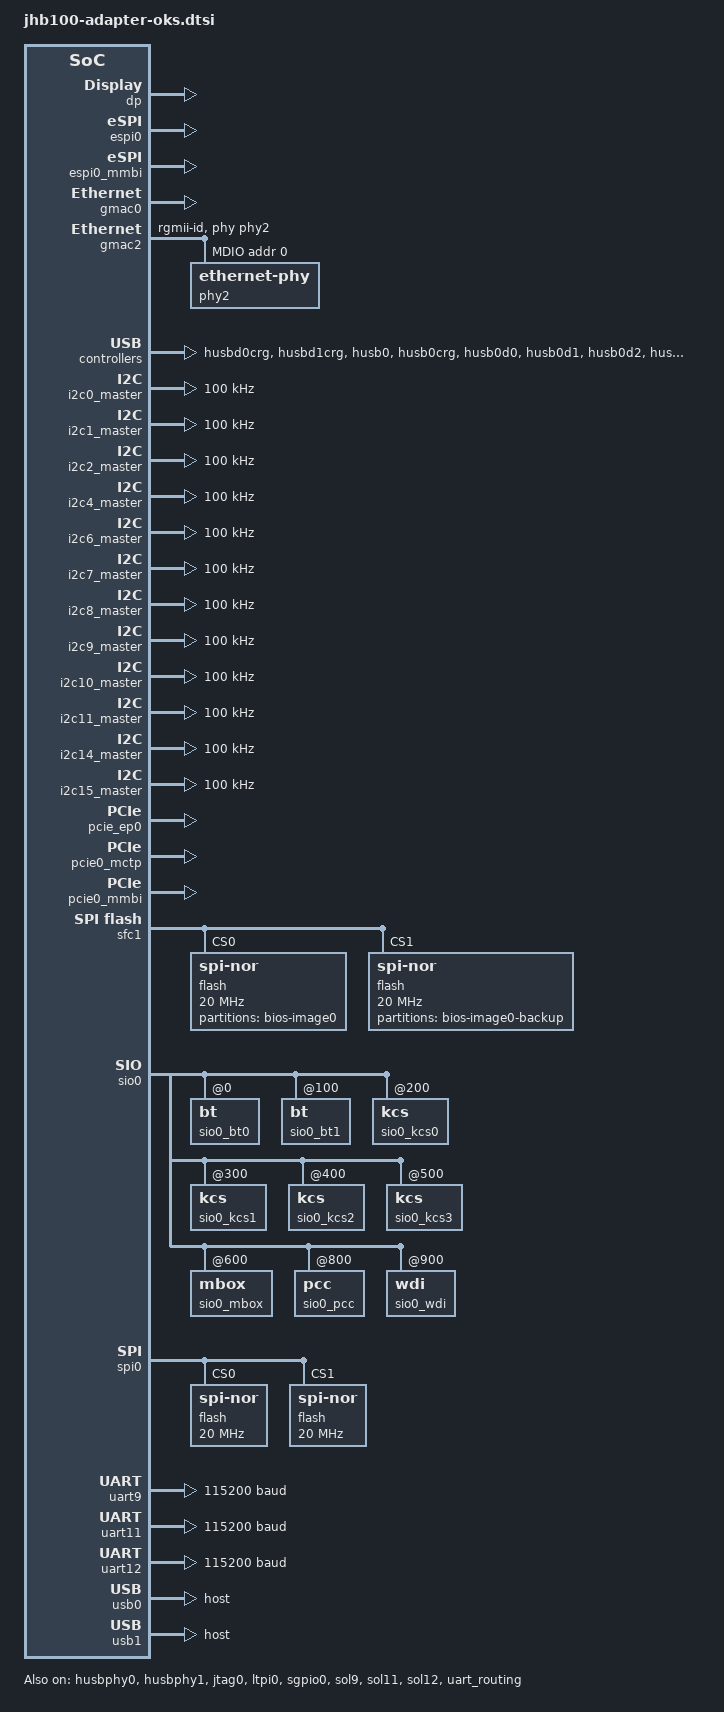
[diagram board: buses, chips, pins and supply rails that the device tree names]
// SPDX-License-Identifier: GPL-2.0 OR MIT
/*
 * Copyright (c) 2026 StarFive Technology Co., Ltd.
 */

&dc0_clk {
	single-node = <1>;
	status = "okay";
};

&dma_i3c {
	status = "disabled";
};

&dma_sfc0 {
	status = "okay";
};

&dma_sfc1 {
	status = "okay";
};

&dma_spi0 {
	status = "okay";
};

&dma_uart {
	status = "okay";
};

&dp {
	status = "okay";
};

&espi0 {
	starfive,flash-mtd-device = "bios-image0";
	starfive,host-src-addr = /bits/ 64 <0xf6810000>;
	perif-memcyc-size = <0x400000>;
	memory-region = <&espi0_mmbi_buffer_uncache>,
			<&espi0_perif_mem_uncache>,
			<&espi0_vw_mem_uncache>;

	starfive,bt-remap-num = <2>;
	starfive,kcs-remap-num = <4>;
	starfive,uart-remap-num = <2>;
	starfive,bt-io-addr = /bits/ 32 <0xe4 0xf4>;
	starfive,kcs-io-addr = /bits/ 32 <0xca2 0xcb2 0xcc2 0xcd2>;
	starfive,uart-io-addr = /bits/ 32 <0x3f8 0x410>;
	starfive,wdi-io-addr = /bits/ 32 <0xa00>;
	starfive,mbox-io-addr = /bits/ 32 <0x300>;

	starfive,vgpio_dir_bits = /bits/ 64 <0xffffffff00000000 0x0000000000000000>;
	starfive,vgpio_lvl_bits = /bits/ 64 <0x0000000000000000 0x0000000000000000>;
	starfive,vgpio_phy_bits = /bits/ 64 <0x0000000f0000000f 0x0000000000000000>;

	status = "okay";
};

&espi0_mmbi {
	mmbi-id = /bits/ 8 <0>;
	mmbi-instance-num = /bits/ 32 <1>;
	mmbi-instance-size = /bits/ 32 <0x10000>;
	mmbi-src-addr-offset = /bits/ 32 <0x10000>;
	mmbi-osuse = /bits/ 8 <0 0 0 0 0 0 0 0>;
	memory-region = <&espi0_mmbi_buffer_uncache>;
	status = "okay";
};

&gmac0 {
	assigned-clocks = <&per3crg JHB100_PER3CLK_GMAC0_RMII_MUX>;
	assigned-clock-parents = <&per3_gmac0_rmii_rclki>;
	mac-mode = "rmii";
	snps,use-ncsi;
	snps,ps-speed = <100>;
	pinctrl-names = "default";
	pinctrl-0 = <&gmac0_rmii_pins>;
	status = "okay";
};

&gmac2 {
	clocks = <&per2crg JHB100_PER2CLK_ETHER0_RMIIANDRGMII_ACLK_I>,
		 <&per2crg JHB100_PER2CLK_ETHER0_RMIIANDRGMII_CSR_I>,
		 <&per2crg JHB100_PER2CLK_ETHER0_RMIIANDRGMII_PTP_REF_I>,
		 <&per2crg JHB100_PER2CLK_GMAC2_RGMII_DIV>,
		 <&per2crg JHB100_PER2CLK_MAIN_ICG_EN_GMAC2>;
	assigned-clocks = <&per2crg JHB100_PER2CLK_GMAC2_RGMII_125_MUX>,
			  <&per2crg JHB100_PER2CLK_GMAC2_RX_MUX_DLY>,
			  <&per2crg JHB100_PER2CLK_GMAC2_TX_MUX>,
			  <&per2crg JHB100_PER2CLK_GMAC2_TXCK_MUX_DLY>;
	assigned-clock-parents = <&per2_gmac2_rgmii_rx>,
				 <&per2crg JHB100_PER2CLK_GMAC2_RGMII_125_MUX>,
				 <&per2crg JHB100_PER2CLK_GMAC2_RGMII_DIV>,
				 <&per2crg JHB100_PER2CLK_GMAC2_TX_MUX>;
	phy-mode = "rgmii-id";
	phy-handle = <&phy2>;
	pinctrl-names = "default";
	pinctrl-0 = <&gmac2_mdio_pins &gmac2_rgmii_pins>;
	status = "okay";

	mdio {
		#address-cells = <1>;
		#size-cells = <0>;
		compatible = "snps,dwmac-mdio";

		phy2: ethernet-phy@2 {
			reg = <0>;
		};
	};
};

&husbd0crg {
	status = "okay";
};

&husbd1crg {
	status = "okay";
};

&husbphy0 {
	status = "okay";
};

&husbphy1 {
	status = "okay";
};

&husb0 {
	interrupts-extended = <&plic 252>, <&plic 251>, <&plic 271>, <&intc 53>, <&intc 54>;
	interrupt-names = "host", "err", "pme", "perst_pe", "perst_ne";
	snps,export-xhci-to-pcie;
	status = "okay";
};

&husb0crg {
	status = "okay";
};

&husb0d0 {
	status = "okay";
};

&husb0d1 {
	status = "okay";
};

&husb0d2 {
	status = "okay";
};

&husb0d3 {
	status = "okay";
};

&husb0d4 {
	status = "okay";
};

&husb0d5 {
	status = "okay";
};

&husb0d6 {
	status = "okay";
};

&husb0d7 {
	status = "okay";
};

&husb1 {
	interrupts-extended = <&plic 262>, <&plic 261>, <&plic 315>, <&intc 55>, <&intc 56>;
	interrupt-names = "host", "err", "pme", "perst_pe", "perst_ne";
	snps,export-xhci-to-pcie;
	status = "okay";
};

&husb1crg {
	status = "okay";
};

&husb1d0 {
	status = "okay";
};

&husb1d1 {
	status = "okay";
};

&husb1d2 {
	status = "okay";
};

&husb1d3 {
	status = "okay";
};

&husb1d4 {
	status = "okay";
};

&husb1d5 {
	status = "okay";
};

&husb1d6 {
	status = "okay";
};

&husb1d7 {
	status = "okay";
};

&i2c0_master {
	clock-frequency = <100000>;
	status = "okay";
};

&i2c1_master {
	clock-frequency = <100000>;
	status = "okay";
};

&i2c2_master {
	clock-frequency = <100000>;
	status = "okay";
};

&i2c4_master {
	clock-frequency = <100000>;
	status = "okay";
};

&i2c6_master {
	clock-frequency = <100000>;
	status = "okay";
};

&i2c7_master {
	clock-frequency = <100000>;
	status = "okay";
};

&i2c8_master {
	clock-frequency = <100000>;
	status = "okay";
};

&i2c9_master {
	clock-frequency = <100000>;
	status = "okay";
};

&i2c10_master {
	clock-frequency = <100000>;
	status = "okay";
};

&i2c11_master {
	clock-frequency = <100000>;
	status = "okay";
};

&i2c14_master {
	clock-frequency = <100000>;
	status = "okay";
};

&i2c15_master {
	clock-frequency = <100000>;
	status = "okay";
};

&i3c0 {
	i2c-scl-hz = <400000>;
	i3c-scl-hz = <1000000>;
	mode = "master";
	hotjoin;
	status = "disabled";
};

&i3c1 {
	i2c-scl-hz = <400000>;
	i3c-scl-hz = <1000000>;
	mode = "master";
	hotjoin;
	status = "disabled";
};

&i3c5 {
	i2c-scl-hz = <400000>;
	i3c-scl-hz = <1000000>;
	mode = "master";
	hotjoin;
	status = "disabled";
};

&i3c12 {
	i2c-scl-hz = <400000>;
	i3c-scl-hz = <1000000>;
	mode = "master";
	hotjoin;
	status = "disabled";
};

&i3c13 {
	i2c-scl-hz = <400000>;
	i3c-scl-hz = <1000000>;
	mode = "master";
	hotjoin;
	status = "disabled";
};

&jtag0 {
	status = "okay";
};

&ltpi0 {
	nlgpio-number = /bits/ 16 <128>;
	uart-channels = <&uart_routing>;
	uart-max-baudrate = /bits/ 32 <115200>;
	data-sup;
	ddr-sup;
	status = "okay";

	llgpo0: virgpio@1000 {
		ngpios = <16>;
		gpo-init-value = <0x100>;
		status = "okay";
	};

	llgpi0: virgpio@1180 {
		ngpios = <16>;
		status = "okay";
	};

	nlgpo0: virgpio@2000 {
		ngpios = <128>;
		/* bit[31:0, 63:32, 95:64, 127,96] */
		gpo-init-value = <0x00400000 0x0E101300 0x03400800 0x0>;
		status = "okay";
	};

	nlgpi0: virgpio@2180 {
		ngpios = <128>;
		status = "okay";
	};
};

&pcie_ep0 {
	memory-region = <&pcie0_media_mem_uncache>,
			<&pcie0_user_mem_uncache>,
			<&pcie0_mmbi_buffer_uncache>,
			<&pcie0_hdma_mem_uncache>;
	/*
	 * Resizable BAR default size = 2^(20+rebar-def-enc)MB.
	 * PF0 BAR2 = 16MB for HDMA data
	 * PF1 BAR4 = 64MB for VOUT frame buffer
	 * PF5 BAR0 = 32MB and BAR2 = 1MB are reserved for users
	 * PF6 BAR0 = 4MB for MMBI data
	 */
	rebar-def-enc-pf0-bar2 = <4>;
	rebar-def-enc-pf1-bar4 = <6>;
	rebar-def-enc-pf5-bar0 = <5>;
	rebar-def-enc-pf5-bar2 = <0>;
	rebar-def-enc-pf6-bar0 = <2>;
	starfive,support-usb-vout-func;
	status = "okay";
};

&pcie0_mctp {
	status = "okay";
};

&pcie0_mmbi {
	mmbi-id = /bits/ 8 <0>;
	mmbi-instance-num = /bits/ 32 <8>;
	mmbi-instance-size = /bits/ 32 <0x10000>;
	mmbi-src-addr-offset = /bits/ 32 <0>;
	mmbi-osuse = /bits/ 8 <1 1 1 1 1 1 1 1>;
	memory-region = <&pcie0_mmbi_buffer_uncache>;
	starfive,raise-irq-syscon = <&pcie_ep0_ecsr 0x700 0xd>;
	starfive,rst-en-syscon = <&strap_reg 0x50 0x400>;
	status = "okay";
};

&sfc1 {
	status = "okay";
	pinctrl-names = "default";
	pinctrl-0 = <&sfc1_2cs_pins>;
	num-cs = <2>;
	rx-sample-delay-ns = <10>;

	flash@0 {
		compatible = "jedec,spi-nor";
		reg = <0>;
		spi-max-frequency = <20000000>;
		spi-tx-bus-width = <4>;
		spi-rx-bus-width = <4>;

		partitions {
			compatible = "fixed-partitions";
			#address-cells = <1>;
			#size-cells = <1>;

			partition@0 {
				label = "bios-image0";
				reg = <0x0 0x4000000>;
			};
		};
	};

	flash@1 {
		compatible = "jedec,spi-nor";
		reg = <1>;
		spi-max-frequency = <20000000>;
		spi-tx-bus-width = <4>;
		spi-rx-bus-width = <4>;

		partitions {
			compatible = "fixed-partitions";
			#address-cells = <1>;
			#size-cells = <1>;

			partition@0 {
				label = "bios-image0-backup";
				reg = <0x0 0x4000000>;
			};
		};
	};
};

&sgpio0 {
	status = "okay";
};

&sio0 {
	status = "okay";

	sio0_bt0: bt@0 {
		bt_chan = <0>;
		status = "okay";
	};

	sio0_bt1: bt@100 {
		bt_chan = <1>;
		status = "okay";
	};

	sio0_kcs0: kcs@200 {
		kcs_chan = <0>;
		status = "okay";
	};

	sio0_kcs1: kcs@300 {
		kcs_chan = <1>;
		status = "okay";
	};

	sio0_kcs2: kcs@400 {
		kcs_chan = <2>;
		status = "okay";
	};

	sio0_kcs3: kcs@500 {
		kcs_chan = <3>;
		status = "okay";
	};

	sio0_mbox: mbox@600 {
		status = "okay";
	};

	sio0_pcc: pcc@800 {
		starfive,pcc-threshold = <0>;
		status = "okay";
	};

	sio0_wdi: wdi@900 {
		status = "okay";
	};
};

&sol9 {
	memory-region = <&sol_tx_mem_uncache>,
			<&sol_rx_mem_uncache>;
	tx-size = <3>;
	rx-size = <3>;
	dev-id = <9>;
	status = "okay";
};

&sol11 {
	memory-region = <&sol_tx_mem_uncache>,
			<&sol_rx_mem_uncache>;
	tx-size = <3>;
	rx-size = <3>;
	dev-id = <11>;
	status = "okay";
};

&sol12 {
	memory-region = <&sol_tx_mem_uncache>,
			<&sol_rx_mem_uncache>;
	tx-size = <3>;
	rx-size = <3>;
	dev-id = <12>;
	status = "okay";
};

&spi0 {
	pinctrl-names = "default";
	pinctrl-0 = <&spi0_pins>;
	rx-sample-delay-ns = <15>;
	status = "okay";

	flash@0 {
		compatible = "jedec,spi-nor";
		spi-max-frequency = <20000000>;
		reg = <0>;
		spi-tx-bus-width = <1>;
		spi-rx-bus-width = <1>;
	};

	flash@1 {
		compatible = "jedec,spi-nor";
		spi-max-frequency = <20000000>;
		reg = <1>;
		spi-tx-bus-width = <1>;
		spi-rx-bus-width = <1>;
	};
};

&uart9 {
	status = "okay";
	current-speed = <115200>;
	pinctrl-names = "default";
	pinctrl-0 = <&uart9_pins>;
};

&uart11 {
	status = "okay";
	current-speed = <115200>;
	pinctrl-names = "default";
	pinctrl-0 = <&uart11_pins>;
};

&uart12 {
	status = "okay";
	current-speed = <115200>;
	pinctrl-names = "default";
	pinctrl-0 = <&uart12_pins>;
};

&uart_routing {
	starfive,chsel = /bits/ 8 <0 0 0 0 0 0 0 0 0 0 0 0 0 0 0>;
	status = "okay";
};

&usb0 {
	dr_mode = "host";
	status = "okay";
};

&usb1 {
	dr_mode = "host";
	status = "okay";
};
